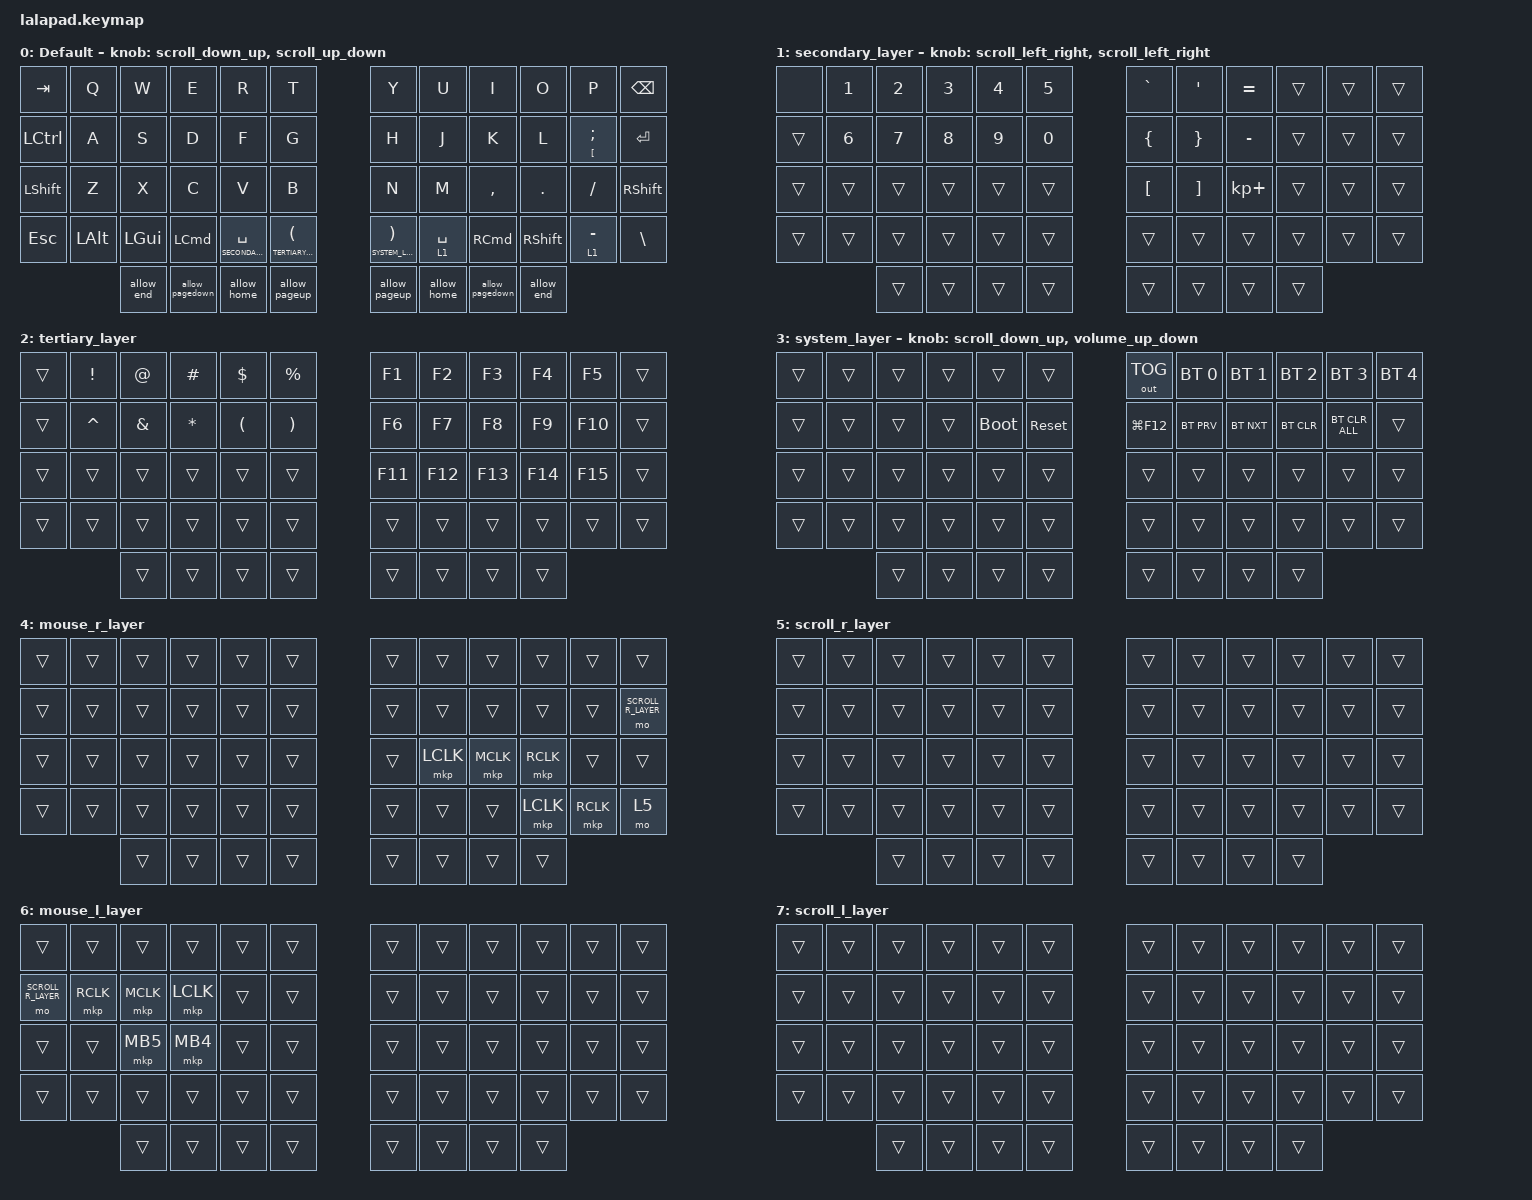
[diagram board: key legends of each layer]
#include <input/processors.dtsi>
#include <behaviors.dtsi>
#include <dt-bindings/zmk/bt.h>
#include <dt-bindings/zmk/keys.h>
#include <dt-bindings/zmk/outputs.h>
#include <dt-bindings/zmk/pointing.h>

#define DEFAULT_LAYER   0
#define SECONDARY_LAYER 1
#define TERTIARY_LAYER  2
#define SYSTEM_LAYER    3
#define MOUSE_R_LAYER   4
#define SCROLL_R_LAYER  5
#define MOUSE_L_LAYER   6
#define SCROLL_L_LAYER  7

// Mouse Scroll Value

#define ZMK_POINTING_DEFAULT_SCRL_VAL 100

// cirque trackpad input&layer control

&glidepoint_listener_R {
    input-processors =
        <&zip_xy_transform (INPUT_TRANSFORM_XY_SWAP | INPUT_TRANSFORM_X_INVERT | INPUT_TRANSFORM_Y_INVERT)>,
        <&zip_xy_scaler 3 2>,
        <&zip_temp_layer MOUSE_R_LAYER 500>;

    lowspeedmode {
        layers = <SECONDARY_LAYER>;
        input-processors =
            <&zip_xy_transform (INPUT_TRANSFORM_XY_SWAP | INPUT_TRANSFORM_X_INVERT | INPUT_TRANSFORM_Y_INVERT)>,
            <&zip_xy_scaler 3 5>,
            <&zip_temp_layer MOUSE_R_LAYER 500>;
    };

    scroller {
        layers = <SCROLL_R_LAYER>;
        input-processors =
            <&zip_xy_to_scroll_mapper>,
            <&zip_scroll_transform (INPUT_TRANSFORM_XY_SWAP | INPUT_TRANSFORM_Y_INVERT)>,
            <&zip_scroll_scaler 1 8>;
    };
};

&glidepoint_listener_L {
    input-processors =
        <&zip_xy_transform (INPUT_TRANSFORM_XY_SWAP | INPUT_TRANSFORM_X_INVERT | INPUT_TRANSFORM_Y_INVERT)>,
        <&zip_xy_scaler 3 2>,
        <&zip_temp_layer MOUSE_L_LAYER 500>;

    lowspeedmode {
        layers = <SECONDARY_LAYER>;
        input-processors =
            <&zip_xy_transform (INPUT_TRANSFORM_XY_SWAP | INPUT_TRANSFORM_X_INVERT | INPUT_TRANSFORM_Y_INVERT)>,
            <&zip_xy_scaler 3 4>,
            <&zip_temp_layer MOUSE_L_LAYER 500>;
    };

    scroller {
        layers = <SCROLL_L_LAYER>;
        input-processors =
            <&zip_xy_to_scroll_mapper>,
            <&zip_scroll_transform (INPUT_TRANSFORM_XY_SWAP | INPUT_TRANSFORM_Y_INVERT)>,
            <&zip_scroll_scaler 1 6>;
    };
};

/ {
    behaviors {
        // Encoder to Mouse Scroll

        scroll_up_down: sensor_scroll_up_down {
            compatible = "zmk,behavior-sensor-rotate";
            #sensor-binding-cells = <0>;
            bindings = <&msc SCRL_UP>, <&msc SCRL_DOWN>;

            tap-ms = <20>;
            label = "SCROLL_UP_DOWN";
        };

        scroll_down_up: sensor_scroll_down_up {
            compatible = "zmk,behavior-sensor-rotate";
            #sensor-binding-cells = <0>;
            bindings = <&msc SCRL_DOWN>, <&msc SCRL_UP>;

            tap-ms = <20>;
            label = "SCROLL_DOWN_UP";
        };

        scroll_left_right: sensor_scroll_left_right {
            compatible = "zmk,behavior-sensor-rotate";
            #sensor-binding-cells = <0>;
            bindings = <&msc SCRL_LEFT>, <&msc SCRL_RIGHT>;

            tap-ms = <20>;
            label = "SCROLL_LEFT_RIGHT";
        };

        scroll_right_left: sensor_scroll_right_left {
            compatible = "zmk,behavior-sensor-rotate";
            #sensor-binding-cells = <0>;
            bindings = <&msc SCRL_RIGHT>, <&msc SCRL_LEFT>;

            tap-ms = <20>;
            label = "SCROLL_RIGHT_LEFT";
        };

        volume_up_down: sensor_volume_up_down {
            compatible = "zmk,behavior-sensor-rotate";
            #sensor-binding-cells = <0>;
            bindings = <&kp C_VOLUME_UP>, <&kp C_VOLUME_DOWN>;

            tap-ms = <20>;
            label = "VOLUME_UP_DOWN";
        };

        dot_comma: dot_comma {
            compatible = "zmk,behavior-mod-morph";
            #binding-cells = <0>;
            bindings = <&kp KP_DOT>, <&kp COMMA>;

            mods = <(MOD_LSFT|MOD_RSFT)>;
            label = "DOT_COMMA";
        };

        pls_minus: pls_minus {
            compatible = "zmk,behavior-mod-morph";
            #binding-cells = <0>;
            bindings = <&kp PLUS>, <&kp MINUS>;

            mods = <(MOD_LSFT|MOD_RSFT)>;
            label = "PLS_MINUS";
        };

        allow_pageup: allow_pageup {
            compatible = "zmk,behavior-mod-morph";
            #binding-cells = <0>;
            bindings = <&kp UP>, <&kp PAGE_UP>;

            mods = <(MOD_LCTL|MOD_RCTL)>;
            label = "ALLOW_PAGEUP";
        };

        allow_pagedown: allow_pagedown {
            compatible = "zmk,behavior-mod-morph";
            #binding-cells = <0>;
            bindings = <&kp DOWN>, <&kp PAGE_DOWN>;

            mods = <(MOD_LCTL|MOD_RCTL)>;
            label = "ALLOW_PAGEDOWN";
        };

        allow_home: allow_home {
            compatible = "zmk,behavior-mod-morph";
            #binding-cells = <0>;
            bindings = <&kp LEFT>, <&kp HOME>;

            mods = <(MOD_LCTL|MOD_RCTL)>;
            label = "ALLOW_HOME";
        };

        allow_end: allow_end {
            compatible = "zmk,behavior-mod-morph";
            #binding-cells = <0>;
            bindings = <&kp RIGHT>, <&kp END>;

            mods = <(MOD_LCTL|MOD_RCTL)>;
            label = "ALLOW_END";
        };

        mt2: mod_tap2 {
            compatible = "zmk,behavior-hold-tap";
            #binding-cells = <2>;
            flavor = "tap-preferred";
            tapping-term-ms = <200>;
            quick-tap-ms = <200>;
            require-prior-idle-ms = <125>;
            bindings = <&kp>, <&kp>;
        };
    };

    keymap {
        compatible = "zmk,keymap";

        DEFAULT_LAYER {
            display-name = "Default";
            sensor-bindings = <&scroll_down_up>, <&scroll_up_down>;

            bindings = <
&kp TAB           &kp Q         &kp W         &kp E             &kp R                      &kp T                                &kp Y                               &kp U        &kp I              &kp O            &kp P                   &kp BSPC
&kp LEFT_CONTROL  &kp A         &kp S         &kp D             &kp F                      &kp G                                &kp H                               &kp J        &kp K              &kp L            &mt2 LEFT_BRACKET SEMI  &kp RET
&kp LSHFT         &kp Z         &kp X         &kp C             &kp V                      &kp B                                &kp N                               &kp M        &kp COMMA          &kp PERIOD       &kp SLASH               &kp RIGHT_SHIFT
&kp ESCAPE        &kp LEFT_ALT  &kp LEFT_GUI  &kp LEFT_COMMAND  &lt SECONDARY_LAYER SPACE  &lt TERTIARY_LAYER LEFT_PARENTHESIS  &lt SYSTEM_LAYER RIGHT_PARENTHESIS  &lt 1 SPACE  &kp RIGHT_COMMAND  &kp RIGHT_SHIFT  &lt 1 MINUS             &kp BACKSLASH
                                &allow_end    &allow_pagedown   &allow_home                &allow_pageup                        &allow_pageup                       &allow_home  &allow_pagedown    &allow_end
            >;
        };

        SECONDARY_LAYER {
            display-name = "secondary_layer";
            sensor-bindings = <&scroll_left_right>, <&scroll_left_right>;

            bindings = <
&none   &kp NUMBER_1  &kp NUMBER_2  &kp NUMBER_3  &kp NUMBER_4  &kp N5  &kp GRAVE         &kp SINGLE_QUOTE   &kp EQUAL    &trans  &trans  &trans
&trans  &kp NUMBER_6  &kp N7        &kp N8        &kp N9        &kp N0  &kp LEFT_BRACE    &kp RIGHT_BRACE    &kp MINUS    &trans  &trans  &trans
&trans  &trans        &trans        &trans        &trans        &trans  &kp LEFT_BRACKET  &kp RIGHT_BRACKET  &kp KP_PLUS  &trans  &trans  &trans
&trans  &trans        &trans        &trans        &trans        &trans  &trans            &trans             &trans       &trans  &trans  &trans
                      &trans        &trans        &trans        &trans  &trans            &trans             &trans       &trans
            >;
        };

        TERTIARY_LAYER {
            display-name = "tertiary_layer";
            bindings = <
&trans  &kp EXCLAMATION  &kp AT_SIGN    &kp HASH      &kp DOLLAR            &kp PERCENT            &kp F1   &kp F2   &kp F3   &kp F4   &kp F5   &trans
&trans  &kp CARET        &kp AMPERSAND  &kp ASTERISK  &kp LEFT_PARENTHESIS  &kp RIGHT_PARENTHESIS  &kp F6   &kp F7   &kp F8   &kp F9   &kp F10  &trans
&trans  &trans           &trans         &trans        &trans                &trans                 &kp F11  &kp F12  &kp F13  &kp F14  &kp F15  &trans
&trans  &trans           &trans         &trans        &trans                &trans                 &trans   &trans   &trans   &trans   &trans   &trans
                         &trans         &trans        &trans                &trans                 &trans   &trans   &trans   &trans
            >;
        };

        SYSTEM_LAYER {
            display-name = "system_layer";
            sensor-bindings = <&scroll_down_up>, <&volume_up_down>;

            bindings = <
&trans  &trans  &trans  &trans  &trans       &trans      &out OUT_TOG  &bt BT_SEL 0  &bt BT_SEL 1  &bt BT_SEL 2  &bt BT_SEL 3    &bt BT_SEL 4
&trans  &trans  &trans  &trans  &bootloader  &sys_reset  &kp LG(F12)   &bt BT_PRV    &bt BT_NXT    &bt BT_CLR    &bt BT_CLR_ALL  &trans
&trans  &trans  &trans  &trans  &trans       &trans      &trans        &trans        &trans        &trans        &trans          &trans
&trans  &trans  &trans  &trans  &trans       &trans      &trans        &trans        &trans        &trans        &trans          &trans
                &trans  &trans  &trans       &trans      &trans        &trans        &trans        &trans
            >;
        };

        MOUSE_R_LAYER {
            display-name = "mouse_r_layer";
            bindings = <
&trans  &trans  &trans  &trans  &trans  &trans  &trans  &trans     &trans     &trans     &trans     &trans
&trans  &trans  &trans  &trans  &trans  &trans  &trans  &trans     &trans     &trans     &trans     &mo SCROLL_R_LAYER
&trans  &trans  &trans  &trans  &trans  &trans  &trans  &mkp LCLK  &mkp MCLK  &mkp RCLK  &trans     &trans
&trans  &trans  &trans  &trans  &trans  &trans  &trans  &trans     &trans     &mkp LCLK  &mkp RCLK  &mo 5
                &trans  &trans  &trans  &trans  &trans  &trans     &trans     &trans
            >;
        };

        SCROLL_R_LAYER {
            display-name = "scroll_r_layer";
            bindings = <
&trans  &trans  &trans  &trans  &trans  &trans  &trans  &trans  &trans  &trans  &trans  &trans
&trans  &trans  &trans  &trans  &trans  &trans  &trans  &trans  &trans  &trans  &trans  &trans
&trans  &trans  &trans  &trans  &trans  &trans  &trans  &trans  &trans  &trans  &trans  &trans
&trans  &trans  &trans  &trans  &trans  &trans  &trans  &trans  &trans  &trans  &trans  &trans
                &trans  &trans  &trans  &trans  &trans  &trans  &trans  &trans
            >;
        };

        MOUSE_L_LAYER {
            display-name = "mouse_l_layer";
            bindings = <
&trans              &trans     &trans     &trans     &trans  &trans  &trans  &trans  &trans  &trans  &trans  &trans
&mo SCROLL_R_LAYER  &mkp RCLK  &mkp MCLK  &mkp LCLK  &trans  &trans  &trans  &trans  &trans  &trans  &trans  &trans
&trans              &trans     &mkp MB5   &mkp MB4   &trans  &trans  &trans  &trans  &trans  &trans  &trans  &trans
&trans              &trans     &trans     &trans     &trans  &trans  &trans  &trans  &trans  &trans  &trans  &trans
                               &trans     &trans     &trans  &trans  &trans  &trans  &trans  &trans
            >;
        };

        SCROLL_L_LAYER {
            display-name = "scroll_l_layer";
            bindings = <
&trans  &trans  &trans  &trans  &trans  &trans  &trans  &trans  &trans  &trans  &trans  &trans
&trans  &trans  &trans  &trans  &trans  &trans  &trans  &trans  &trans  &trans  &trans  &trans
&trans  &trans  &trans  &trans  &trans  &trans  &trans  &trans  &trans  &trans  &trans  &trans
&trans  &trans  &trans  &trans  &trans  &trans  &trans  &trans  &trans  &trans  &trans  &trans
                &trans  &trans  &trans  &trans  &trans  &trans  &trans  &trans
            >;
        };
    };
};
